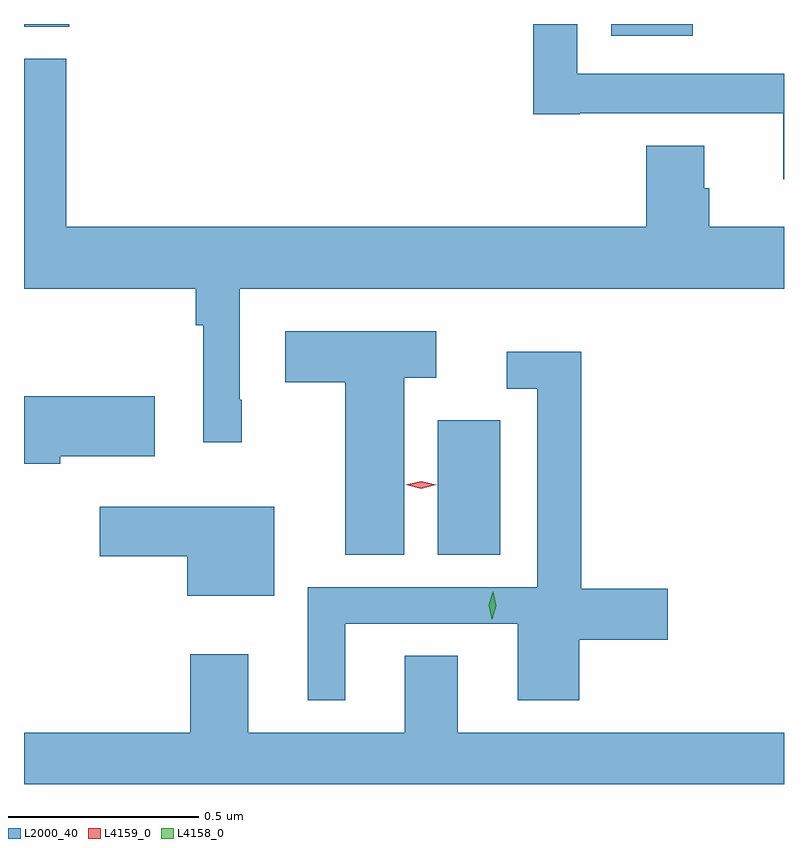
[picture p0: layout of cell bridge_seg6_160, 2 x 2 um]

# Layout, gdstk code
import gdstk
lib = gdstk.Library(unit=1e-6, precision=1e-09)
def R(c, l, rs):  # rectangles x0, y0, x1, y1
    for r in rs: c.add(gdstk.rectangle(r[:2], r[2:], *l))
def P(c, l, *ps):  # polygons
    for p in ps: c.add(gdstk.Polygon(p, *l))
L2000_40 = (2000, 40)
L4158_0 = (4158, 0)
L4159_0 = (4159, 0)

bridge_seg6_160 = lib.new_cell('bridge_seg6_160')
R(bridge_seg6_160, L2000_40, [(624.668,939.976,624.832,940.33), (625.124,941.342,625.339,941.373), (623.579,941.366,623.698,941.373)])
P(bridge_seg6_160, L2000_40, [(625.579,941.242),(625.035,941.242),(625.035,941.373),(624.919,941.373),(624.919,941.136),(625.042,941.136),(625.042,941.138),(625.577,941.138),(625.577,940.964),(625.579,940.964)],
  [(624.152,940.384),(624.147,940.384),(624.147,940.676),(625.579,940.676),(625.579,940.84),(625.382,940.84),(625.382,940.941),(625.369,940.941),(625.369,941.053),(625.217,941.053),(625.217,940.84),(623.69,940.84),(623.69,941.281),(623.579,941.281),(623.579,940.676),(624.031,940.676),(624.031,940.58),(624.051,940.58),(624.051,940.272),(624.152,940.272)],
  [(624.58,940.442),(624.664,940.442),(624.664,940.564),(624.267,940.564),(624.267,940.43),(624.425,940.43),(624.425,939.976),(624.58,939.976)],
  [(624.424,939.795),(624.878,939.795),(624.878,939.594),(625.04,939.594),(625.04,939.752),(625.273,939.752),(625.273,939.887),(625.046,939.887),(625.046,940.51),(624.849,940.51),(624.849,940.413),(624.93,940.413),(624.93,939.891),(624.326,939.891),(624.326,939.594),(624.424,939.594)],
  [(623.674,940.235),(623.923,940.235),(623.923,940.393),(623.579,940.393),(623.579,940.216),(623.674,940.216)],
  [(624.238,940.102),(623.778,940.102),(623.778,939.973),(624.008,939.973),(624.008,939.869),(624.238,939.869)],
  [(625.579,939.508),(624.721,939.508),(624.721,939.71),(624.581,939.71),(624.581,939.508),(624.169,939.508),(624.169,939.715),(624.017,939.715),(624.017,939.508),(623.579,939.508),(623.579,939.373),(625.579,939.373)])
P(bridge_seg6_160, L4158_0, [(624.811,939.806),(624.81,939.807),(624.802,939.843),(624.813,939.879),(624.813,939.879),(624.814,939.879),(624.822,939.842),(624.811,939.807)])
P(bridge_seg6_160, L4159_0, [(624.624,940.15),(624.584,940.16),(624.584,940.16),(624.584,940.16),(624.624,940.17),(624.664,940.16),(624.665,940.16),(624.664,940.16)])

lib.write_gds('bridge_seg6_160.gds')
